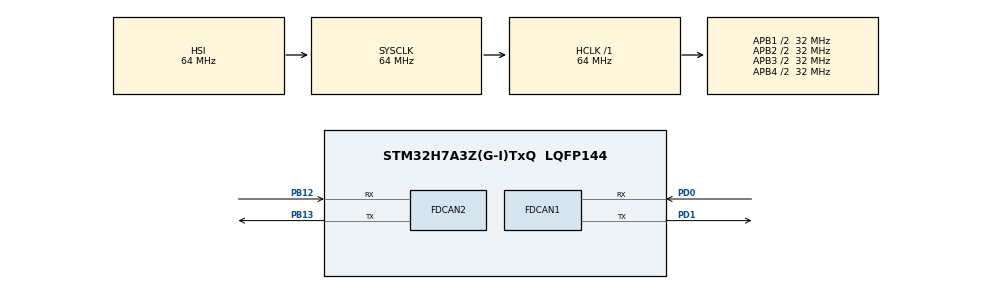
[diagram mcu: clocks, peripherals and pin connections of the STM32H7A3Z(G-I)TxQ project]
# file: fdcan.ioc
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FDCAN1.AutoRetransmission=ENABLE
FDCAN1.DataPrescaler=25
FDCAN1.DataTimeSeg1=2
FDCAN1.FrameFormat=FDCAN_FRAME_FD_NO_BRS
FDCAN1.NominalSyncJumpWidth=13
FDCAN1.NominalTimeSeg1=86
FDCAN1.NominalTimeSeg2=13
FDCAN1.RxFifo0ElmtSize=FDCAN_DATA_BYTES_12
FDCAN1.RxFifo0ElmtsNbr=1
FDCAN1.StdFiltersNbr=1
FDCAN1.TxElmtSize=FDCAN_DATA_BYTES_12
FDCAN1.TxFifoQueueElmtsNbr=1
FDCAN2.AutoRetransmission=ENABLE
FDCAN2.DataPrescaler=25
FDCAN2.DataTimeSeg1=2
FDCAN2.DataTimeSeg2=1
FDCAN2.FrameFormat=FDCAN_FRAME_FD_NO_BRS
FDCAN2.MessageRAMOffset=11
FDCAN2.NominalSyncJumpWidth=13
FDCAN2.NominalTimeSeg1=86
FDCAN2.NominalTimeSeg2=13
FDCAN2.RxFifo1ElmtSize=FDCAN_DATA_BYTES_12
FDCAN2.RxFifo1ElmtsNbr=1
FDCAN2.StdFiltersNbr=1
FDCAN2.TxElmtSize=FDCAN_DATA_BYTES_12
FDCAN2.TxFifoQueueElmtsNbr=1
Mcu.Family=STM32H7
Mcu.Name=STM32H7A3Z(G-I)TxQ
Mcu.Package=LQFP144
NVIC.FDCAN1_IT0_IRQn=true\:0\:0\:false\:false\:true\:true\:true
NVIC.FDCAN2_IT0_IRQn=true\:0\:0\:false\:false\:true\:true\:true
NVIC.PriorityGroup=NVIC_PRIORITYGROUP_4
PB12.Mode=FDCAN_Activate
PB12.Signal=FDCAN2_RX
PB13.Mode=FDCAN_Activate
PB13.Signal=FDCAN2_TX
PD0.Mode=FDCAN_Activate
PD0.Signal=FDCAN1_RX
PD1.Mode=FDCAN_Activate
PD1.Signal=FDCAN1_TX
ProjectManager.HeapSize=0x200
ProjectManager.StackSize=0x400
ProjectManager.TargetToolchain=STM32CubeIDE
RCC.ADCFreq_Value=129000000
RCC.APB1Freq_Value=32000000
RCC.APB2Freq_Value=32000000
RCC.APB3Freq_Value=32000000
RCC.APB4Freq_Value=32000000
RCC.CDPPRE=RCC_APB3_DIV2
RCC.CDPPRE1=RCC_APB1_DIV2
RCC.CDPPRE2=RCC_APB2_DIV2
RCC.CortexFreq_Value=64000000
RCC.DIVM1=4
RCC.DIVN1=9
RCC.DIVQ1=3
RCC.HCLKFreq_Value=64000000
RCC.PLLFRACN=3072
RCC.SRDPPRE=RCC_APB4_DIV2
RCC.SYSCLKFreq_VALUE=64000000
RCC.USBFreq_Value=50000000
board=custom

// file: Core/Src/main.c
/* USER CODE BEGIN Header */
/**
  ******************************************************************************
  * @file           : main.c
  * @brief          : Main program body
  ******************************************************************************
  * @attention
  *
  * Copyright (c) 2023 STMicroelectronics.
  * All rights reserved.
  *
  * This software is licensed under terms that can be found in the LICENSE file
  * in the root directory of this software component.
  * If no LICENSE file comes with this software, it is provided AS-IS.
  *
  ******************************************************************************
  */
/* USER CODE END Header */
#include "main.h"

/* USER CODE BEGIN Includes */
#include <stdio.h>
/* USER CODE END Includes */

FDCAN_HandleTypeDef hfdcan1;
FDCAN_HandleTypeDef hfdcan2;

void SystemClock_Config(void);
static void MX_GPIO_Init(void);
static void MX_FDCAN1_Init(void);
static void MX_FDCAN2_Init(void);

/* USER CODE BEGIN 0 */
// FDCAN1 Defines
FDCAN_TxHeaderTypeDef   TxHeader1;
FDCAN_RxHeaderTypeDef   RxHeader1;
uint8_t               TxData1[12];
uint8_t               RxData1[12];

// FDCAN2 Defines
FDCAN_TxHeaderTypeDef   TxHeader2;
FDCAN_RxHeaderTypeDef   RxHeader2;
uint8_t               TxData2[12];
uint8_t               RxData2[12];

int indx = 0;
// FDCAN1 Callback
void HAL_FDCAN_RxFifo0Callback(FDCAN_HandleTypeDef *hfdcan, uint32_t RxFifo0ITs)
{
  if((RxFifo0ITs & FDCAN_IT_RX_FIFO0_NEW_MESSAGE) != RESET)
  {
    /* Retreive Rx messages from RX FIFO0 */
	  //여기서는 먼저 RX FIFO0의 헤더 정보를 RxHeader로 복사하고 데이터를 RxData 배열로 복사합니다.
    if (HAL_FDCAN_GetRxMessage(hfdcan, FDCAN_RX_FIFO0, &RxHeader1, RxData1) != HAL_OK)
    {
    /* Reception Error */
    Error_Handler();
    }
    //그런 다음 새 메시지에 대한 알림을 다시 활성화합니다.
    if (HAL_FDCAN_ActivateNotification(hfdcan, FDCAN_IT_RX_FIFO0_NEW_MESSAGE, 0) != HAL_OK)
    {
      /* Notification Error */
      Error_Handler();
    }
    //FDCAN2 콜백과 달리 여기서는 데이터를 전송하지 않습니다. while 루프에서 FDCAN1에 의해 매초 데이터가 전송되기 때문입니다.
  }
}
// FDCAN2 Callback
void HAL_FDCAN_RxFifo1Callback(FDCAN_HandleTypeDef *hfdcan, uint32_t RxFifo1ITs)
{
  if((RxFifo1ITs & FDCAN_IT_RX_FIFO1_NEW_MESSAGE) != RESET)//여기서는 먼저 RX FIFO1 의 헤더 정보 를 RxHeader로 복사하고 데이터를 RxData 배열로 복사합니다.
  {
    /* Retreive Rx messages from RX FIFO0 */
    if (HAL_FDCAN_GetRxMessage(hfdcan, FDCAN_RX_FIFO1, &RxHeader2, RxData2) != HAL_OK)//그런 다음 새 메시지에 대한 알림을 다시 활성화합니다.
    {
    /* Reception Error */
    Error_Handler();
    }

    if (HAL_FDCAN_ActivateNotification(hfdcan, FDCAN_IT_RX_FIFO1_NEW_MESSAGE, 0) != HAL_OK)//마지막으로 우리는 CAN 버스에서 일부 데이터를 보낼 것입니다.
    {
      /* Notification Error */
      Error_Handler();
    }

	  sprintf ((char *)TxData2, "FDCAN2TX %d", indx);

	  if (HAL_FDCAN_AddMessageToTxFifoQ(&hfdcan2, &TxHeader2, TxData2)!= HAL_OK)//마지막으로 우리는 CAN 버스에서 일부 데이터를 보낼 것입니다.
	  {
		  Error_Handler();
	  }
  }
}
/* USER CODE END 0 */

int main(void)
{

  /* MCU Configuration--------------------------------------------------------*/

  /* Reset of all peripherals, Initializes the Flash interface and the Systick. */
  HAL_Init();

  /* Configure the system clock */
  SystemClock_Config();

  /* Initialize all configured peripherals */
  MX_GPIO_Init();
  MX_FDCAN1_Init();
  MX_FDCAN2_Init();
  /* USER CODE BEGIN 2 */
  // STart FDCAN1
  if(HAL_FDCAN_Start(&hfdcan1)!= HAL_OK)
  {
   Error_Handler();
  }

  // STart FDCAN2
  if(HAL_FDCAN_Start(&hfdcan2)!= HAL_OK)
  {
   Error_Handler();
  }

  // Activate the notification for new data in FIFO0 for FDCAN1
  if (HAL_FDCAN_ActivateNotification(&hfdcan1, FDCAN_IT_RX_FIFO0_NEW_MESSAGE, 0) != HAL_OK)
  {
    /* Notification Error */
    Error_Handler();
  }

  // Activate the notification for new data in FIFO1 for FDCAN2
  if (HAL_FDCAN_ActivateNotification(&hfdcan2, FDCAN_IT_RX_FIFO1_NEW_MESSAGE, 0) != HAL_OK)
  {
    /* Notification Error */
    Error_Handler();
  }
  // Configure TX Header for FDCAN1
  TxHeader1.Identifier = 0x11;//식별자 는 FDCAN1의 경우 0x11, FDCAN2의 경우 0x22인 송신기의 ID입니다 .
  TxHeader1.IdType = FDCAN_STANDARD_ID;
  TxHeader1.TxFrameType = FDCAN_DATA_FRAME;//TxFrameType 은 데이터 프레임 또는 원격 프레임을 보내는지 여부를 나타냅니다. 데이터 프레임으로 설정됩니다.
  TxHeader1.DataLength = FDCAN_DLC_BYTES_12;//DataLength 는 12바이트로 설정됩니다. 이것은 우리가 보낼 실제 데이터의 길이입니다.
  TxHeader1.ErrorStateIndicator = FDCAN_ESI_ACTIVE;//ErrorStateIndicator 가 활성화되어 전송에 오류가 있으면 알려줍니다.
  TxHeader1.BitRateSwitch = FDCAN_BRS_OFF;//BitrateSwitch 는 OFF입니다. 언급했듯이 Arbitration 및 Data Fields 모두에 대해 동일한 비트 전송률을 사용할 것입니다.
  TxHeader1.FDFormat = FDCAN_FD_CAN;//FDFormat 은 표준 CAN 또는 FD CAN을 사용할지 여부를 나타냅니다. FD CAN으로 설정
  TxHeader1.TxEventFifoControl = FDCAN_NO_TX_EVENTS;
  TxHeader1.MessageMarker = 0;

  // Configure TX Header for FDCAN2
  TxHeader2.Identifier = 0x22;
  TxHeader2.IdType = FDCAN_STANDARD_ID;
  TxHeader2.TxFrameType = FDCAN_DATA_FRAME;
  TxHeader2.DataLength = FDCAN_DLC_BYTES_12;
  TxHeader2.ErrorStateIndicator = FDCAN_ESI_ACTIVE;
  TxHeader2.BitRateSwitch = FDCAN_BRS_OFF;
  TxHeader2.FDFormat = FDCAN_FD_CAN;
  TxHeader2.TxEventFifoControl = FDCAN_NO_TX_EVENTS;
  TxHeader2.MessageMarker = 0;
  /* USER CODE END 2 */

  /* Infinite loop */
  /* USER CODE BEGIN WHILE */
  while (1)
  {

	   sprintf ((char *)TxData1, "FDCAN1TX %d", indx++);//while 루프 내에서 FDCAN1은 1초마다 데이터를 전송합니다.
	   //TxData는 indx 변수의 증가된 값과 함께 문자열(데이터가 FDCAN1에서 오는 것을 나타냄)을 포함합니다.
	   if (HAL_FDCAN_AddMessageToTxFifoQ(&hfdcan1, &TxHeader1, TxData1)!= HAL_OK)//그런 다음 함수 HAL_FDCAN_AddMessageToTxFifoQ는 메시지를 FIFO 대기열에 추가합니다.
	   {
	    Error_Handler();
	   }
	   //메시지가 FIFO 대기열에 추가되면 메시지가 CAN 버스로 전송됩니다.
	   HAL_Delay (500);
    /* USER CODE END WHILE */

  }
}

void SystemClock_Config(void)
{
  RCC_OscInitTypeDef RCC_OscInitStruct = {0};
  RCC_ClkInitTypeDef RCC_ClkInitStruct = {0};

  /** Supply configuration update enable
  */
  HAL_PWREx_ConfigSupply(PWR_DIRECT_SMPS_SUPPLY);
  /** Configure the main internal regulator output voltage
  */
  __HAL_PWR_VOLTAGESCALING_CONFIG(PWR_REGULATOR_VOLTAGE_SCALE3);

  while(!__HAL_PWR_GET_FLAG(PWR_FLAG_VOSRDY)) {}
  /** Initializes the RCC Oscillators according to the specified parameters
  * in the RCC_OscInitTypeDef structure.
  */
  RCC_OscInitStruct.OscillatorType = RCC_OSCILLATORTYPE_HSI;
  RCC_OscInitStruct.HSIState = RCC_HSI_DIV1;
  RCC_OscInitStruct.HSICalibrationValue = RCC_HSICALIBRATION_DEFAULT;
  RCC_OscInitStruct.PLL.PLLState = RCC_PLL_ON;
  RCC_OscInitStruct.PLL.PLLSource = RCC_PLLSOURCE_HSI;
  RCC_OscInitStruct.PLL.PLLM = 4;
  RCC_OscInitStruct.PLL.PLLN = 9;
  RCC_OscInitStruct.PLL.PLLP = 2;
  RCC_OscInitStruct.PLL.PLLQ = 3;
  RCC_OscInitStruct.PLL.PLLR = 2;
  RCC_OscInitStruct.PLL.PLLRGE = RCC_PLL1VCIRANGE_3;
  RCC_OscInitStruct.PLL.PLLVCOSEL = RCC_PLL1VCOWIDE;
  RCC_OscInitStruct.PLL.PLLFRACN = 3072;
  if (HAL_RCC_OscConfig(&RCC_OscInitStruct) != HAL_OK)
  {
    Error_Handler();
  }
  /** Initializes the CPU, AHB and APB buses clocks
  */
  RCC_ClkInitStruct.ClockType = RCC_CLOCKTYPE_HCLK|RCC_CLOCKTYPE_SYSCLK
                              |RCC_CLOCKTYPE_PCLK1|RCC_CLOCKTYPE_PCLK2
                              |RCC_CLOCKTYPE_D3PCLK1|RCC_CLOCKTYPE_D1PCLK1;
  RCC_ClkInitStruct.SYSCLKSource = RCC_SYSCLKSOURCE_HSI;
  RCC_ClkInitStruct.SYSCLKDivider = RCC_SYSCLK_DIV1;
  RCC_ClkInitStruct.AHBCLKDivider = RCC_HCLK_DIV1;
  RCC_ClkInitStruct.APB3CLKDivider = RCC_APB3_DIV2;
  RCC_ClkInitStruct.APB1CLKDivider = RCC_APB1_DIV2;
  RCC_ClkInitStruct.APB2CLKDivider = RCC_APB2_DIV2;
  RCC_ClkInitStruct.APB4CLKDivider = RCC_APB4_DIV2;

  if (HAL_RCC_ClockConfig(&RCC_ClkInitStruct, FLASH_LATENCY_2) != HAL_OK)
  {
    Error_Handler();
  }
}

static void MX_FDCAN1_Init(void)
{

  hfdcan1.Instance = FDCAN1;
  hfdcan1.Init.FrameFormat = FDCAN_FRAME_FD_NO_BRS;
  hfdcan1.Init.Mode = FDCAN_MODE_NORMAL;
  hfdcan1.Init.AutoRetransmission = ENABLE;
  hfdcan1.Init.TransmitPause = DISABLE;
  hfdcan1.Init.ProtocolException = DISABLE;
  hfdcan1.Init.NominalPrescaler = 1;
  hfdcan1.Init.NominalSyncJumpWidth = 13;
  hfdcan1.Init.NominalTimeSeg1 = 86;
  hfdcan1.Init.NominalTimeSeg2 = 13;
  hfdcan1.Init.DataPrescaler = 25;
  hfdcan1.Init.DataSyncJumpWidth = 1;
  hfdcan1.Init.DataTimeSeg1 = 2;
  hfdcan1.Init.DataTimeSeg2 = 1;
  hfdcan1.Init.MessageRAMOffset = 0;
  hfdcan1.Init.StdFiltersNbr = 1;
  hfdcan1.Init.ExtFiltersNbr = 0;
  hfdcan1.Init.RxFifo0ElmtsNbr = 1;
  hfdcan1.Init.RxFifo0ElmtSize = FDCAN_DATA_BYTES_12;
  hfdcan1.Init.RxFifo1ElmtsNbr = 0;
  hfdcan1.Init.RxFifo1ElmtSize = FDCAN_DATA_BYTES_8;
  hfdcan1.Init.RxBuffersNbr = 0;
  hfdcan1.Init.RxBufferSize = FDCAN_DATA_BYTES_8;
  hfdcan1.Init.TxEventsNbr = 0;
  hfdcan1.Init.TxBuffersNbr = 0;
  hfdcan1.Init.TxFifoQueueElmtsNbr = 1;
  hfdcan1.Init.TxFifoQueueMode = FDCAN_TX_FIFO_OPERATION;
  hfdcan1.Init.TxElmtSize = FDCAN_DATA_BYTES_12;
  if (HAL_FDCAN_Init(&hfdcan1) != HAL_OK)
  {
    Error_Handler();
  }
  /* USER CODE BEGIN FDCAN1_Init 2 */
  FDCAN_FilterTypeDef sFilterConfig;

  sFilterConfig.IdType = FDCAN_STANDARD_ID; //IdType 은 표준 ID 또는 확장 ID를 사용하는지 여부를 정의합니다 .
  sFilterConfig.FilterIndex = 0;//Filterindex 는 여러 개의 필터를 구성하는 경우에 사용됩니다. 1개의 필터만 사용하고 있기 때문에 0으로 설정합니다.
  sFilterConfig.FilterType = FDCAN_FILTER_MASK;//FilterType 은 우리가 사용하는 필터 유형입니다. 여기서는 MASK 필터를 사용하고 있습니다
  sFilterConfig.FilterConfig = FDCAN_FILTER_TO_RXFIFO0;//FilterConfig 는 필터를 통과하는 메시지에 수행해야 하는 작업을 결정합니다. RX FIFO 0으로 보내도록 설정되어 있습니다.
  sFilterConfig.FilterID1 = 0;//이 MASK 필터의 경우 ID1( 0x22 )이 ID로 작동하고 ID2( 0x22 )가 마스크 비트로 작동합니다.
  sFilterConfig.FilterID2 = 0;
  sFilterConfig.RxBufferIndex = 0;//RxBufferIndex 는 FIFO 대신 RX Buffer를 사용할 경우 사용하므로 0으로 설정한다.
  if (HAL_FDCAN_ConfigFilter(&hfdcan1, &sFilterConfig) != HAL_OK)
  {
    /* Filter configuration Error */
    Error_Handler();
  }
  /* USER CODE END FDCAN1_Init 2 */

}

static void MX_FDCAN2_Init(void)
{

  hfdcan2.Instance = FDCAN2;
  hfdcan2.Init.FrameFormat = FDCAN_FRAME_FD_NO_BRS;
  hfdcan2.Init.Mode = FDCAN_MODE_NORMAL;
  hfdcan2.Init.AutoRetransmission = ENABLE;
  hfdcan2.Init.TransmitPause = DISABLE;
  hfdcan2.Init.ProtocolException = DISABLE;
  hfdcan2.Init.NominalPrescaler = 1;
  hfdcan2.Init.NominalSyncJumpWidth = 13;
  hfdcan2.Init.NominalTimeSeg1 = 86;
  hfdcan2.Init.NominalTimeSeg2 = 13;
  hfdcan2.Init.DataPrescaler = 25;
  hfdcan2.Init.DataSyncJumpWidth = 1;
  hfdcan2.Init.DataTimeSeg1 = 2;
  hfdcan2.Init.DataTimeSeg2 = 1;
  hfdcan2.Init.MessageRAMOffset = 11;
  hfdcan2.Init.StdFiltersNbr = 1;
  hfdcan2.Init.ExtFiltersNbr = 0;
  hfdcan2.Init.RxFifo0ElmtsNbr = 0;
  hfdcan2.Init.RxFifo0ElmtSize = FDCAN_DATA_BYTES_8;
  hfdcan2.Init.RxFifo1ElmtsNbr = 1;
  hfdcan2.Init.RxFifo1ElmtSize = FDCAN_DATA_BYTES_12;
  hfdcan2.Init.RxBuffersNbr = 0;
  hfdcan2.Init.RxBufferSize = FDCAN_DATA_BYTES_8;
  hfdcan2.Init.TxEventsNbr = 0;
  hfdcan2.Init.TxBuffersNbr = 0;
  hfdcan2.Init.TxFifoQueueElmtsNbr = 1;
  hfdcan2.Init.TxFifoQueueMode = FDCAN_TX_FIFO_OPERATION;
  hfdcan2.Init.TxElmtSize = FDCAN_DATA_BYTES_12;
  if (HAL_FDCAN_Init(&hfdcan2) != HAL_OK)
  {
    Error_Handler();
  }
  /* USER CODE BEGIN FDCAN2_Init 2 */
  FDCAN_FilterTypeDef sFilterConfig;

  sFilterConfig.IdType = FDCAN_STANDARD_ID;
  sFilterConfig.FilterIndex = 0;
  sFilterConfig.FilterType = FDCAN_FILTER_MASK;
  sFilterConfig.FilterConfig = FDCAN_FILTER_TO_RXFIFO1;
  sFilterConfig.FilterID1 = 0x11;
  sFilterConfig.FilterID2 = 0x11;
  sFilterConfig.RxBufferIndex = 0;
  if (HAL_FDCAN_ConfigFilter(&hfdcan2, &sFilterConfig) != HAL_OK)
  {
    /* Filter configuration Error */
    Error_Handler();
  }
  /* USER CODE END FDCAN2_Init 2 */

}

static void MX_GPIO_Init(void)
{

  /* GPIO Ports Clock Enable */
  __HAL_RCC_GPIOB_CLK_ENABLE();
  __HAL_RCC_GPIOD_CLK_ENABLE();

}

void Error_Handler(void)
{
  __disable_irq();
  while (1)
  {
  }
}
